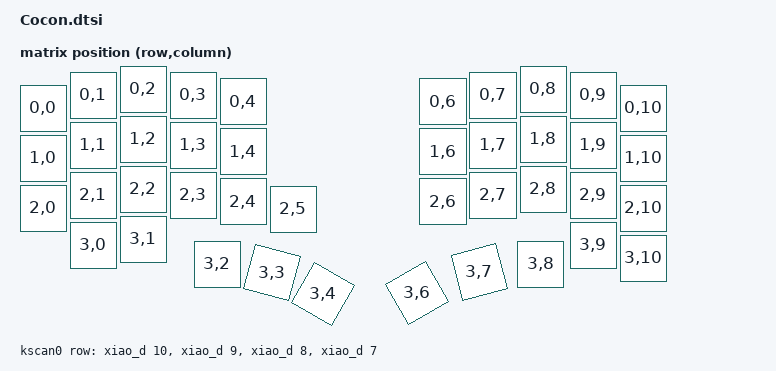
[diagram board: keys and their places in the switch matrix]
#include <dt-bindings/zmk/matrix_transform.h>
#include <physical_layouts.dtsi>

/ {
    chosen {
        zmk,physical-layout = &Cocon_physical_layout;
    };

    Cocon_physical_layout: Cocon_physical_layout {
        compatible = "zmk,physical-layout";
        display-name = "Default";
        transform = <&default_transform>;
        kscan = <&kscan0>;

        keys  //                     w   h    x    y     rot    rx    ry
            = <&key_physical_attrs 100 100    0   38       0     0     0>
            , <&key_physical_attrs 100 100  100   12       0     0     0>
            , <&key_physical_attrs 100 100  200    0       0     0     0>
            , <&key_physical_attrs 100 100  300   12       0     0     0>
            , <&key_physical_attrs 100 100  400   25       0     0     0>
            , <&key_physical_attrs 100 100  800   25       0     0     0>
            , <&key_physical_attrs 100 100  900   12       0     0     0>
            , <&key_physical_attrs 100 100 1000    0       0     0     0>
            , <&key_physical_attrs 100 100 1100   12       0     0     0>
            , <&key_physical_attrs 100 100 1200   38       0     0     0>
            , <&key_physical_attrs 100 100    0  138       0     0     0>
            , <&key_physical_attrs 100 100  100  112       0     0     0>
            , <&key_physical_attrs 100 100  200  100       0     0     0>
            , <&key_physical_attrs 100 100  300  112       0     0     0>
            , <&key_physical_attrs 100 100  400  125       0     0     0>
            , <&key_physical_attrs 100 100  800  125       0     0     0>
            , <&key_physical_attrs 100 100  900  112       0     0     0>
            , <&key_physical_attrs 100 100 1000  100       0     0     0>
            , <&key_physical_attrs 100 100 1100  112       0     0     0>
            , <&key_physical_attrs 100 100 1200  138       0     0     0>
            , <&key_physical_attrs 100 100    0  238       0     0     0>
            , <&key_physical_attrs 100 100  100  212       0     0     0>
            , <&key_physical_attrs 100 100  200  200       0     0     0>
            , <&key_physical_attrs 100 100  300  212       0     0     0>
            , <&key_physical_attrs 100 100  400  225       0     0     0>
            , <&key_physical_attrs 100 100  500  240       0     0     0>
            , <&key_physical_attrs 100 100  800  225       0     0     0>
            , <&key_physical_attrs 100 100  900  212       0     0     0>
            , <&key_physical_attrs 100 100 1000  200       0     0     0>
            , <&key_physical_attrs 100 100 1100  212       0     0     0>
            , <&key_physical_attrs 100 100 1200  238       0     0     0>
            , <&key_physical_attrs 100 100  100  312       0     0     0>
            , <&key_physical_attrs 100 100  200  300       0     0     0>
            , <&key_physical_attrs 100 100  348  350       0     0     0>
            , <&key_physical_attrs 100 100  348  300    1500   200   800>
            , <&key_physical_attrs 100 100  348  300    3000   300   800>
            , <&key_physical_attrs 100 100  952  312 (-3000)  1080   790>
            , <&key_physical_attrs 100 100  952  330 (-1500)  1100   700>
            , <&key_physical_attrs 100 100  995  350       0     0     0>
            , <&key_physical_attrs 100 100 1100  312       0     0     0>
            , <&key_physical_attrs 100 100 1200  338       0     0     0>
            ;
    };

    default_transform: keymap_transform_0 {
        compatible = "zmk,matrix-transform";
        columns = <11>;
        rows = <4>;
        map = <
            RC(0,0) RC(0,1) RC(0,2) RC(0,3) RC(0,4)                     RC(0,6) RC(0,7) RC(0,8) RC(0,9) RC(0,10)
            RC(1,0) RC(1,1) RC(1,2) RC(1,3) RC(1,4)                     RC(1,6) RC(1,7) RC(1,8) RC(1,9) RC(1,10)
            RC(2,0) RC(2,1) RC(2,2) RC(2,3) RC(2,4) RC(2,5)             RC(2,6) RC(2,7) RC(2,8) RC(2,9) RC(2,10)
            RC(3,0) RC(3,1) RC(3,2) RC(3,3) RC(3,4)             RC(3,6) RC(3,7) RC(3,8)         RC(3,9) RC(3,10)
        >;
    };

    kscan0: kscan {
        compatible = "zmk,kscan-gpio-matrix";
        label = "KSCAN";
        diode-direction = "col2row";
            row-gpios
                = <&xiao_d 10 (GPIO_ACTIVE_HIGH | GPIO_PULL_DOWN)>
                , <&xiao_d 9 (GPIO_ACTIVE_HIGH | GPIO_PULL_DOWN)>
                , <&xiao_d 8 (GPIO_ACTIVE_HIGH | GPIO_PULL_DOWN)>
                , <&xiao_d 7 (GPIO_ACTIVE_HIGH | GPIO_PULL_DOWN)>
                ;
    };

    sensors: sensors {};
};
